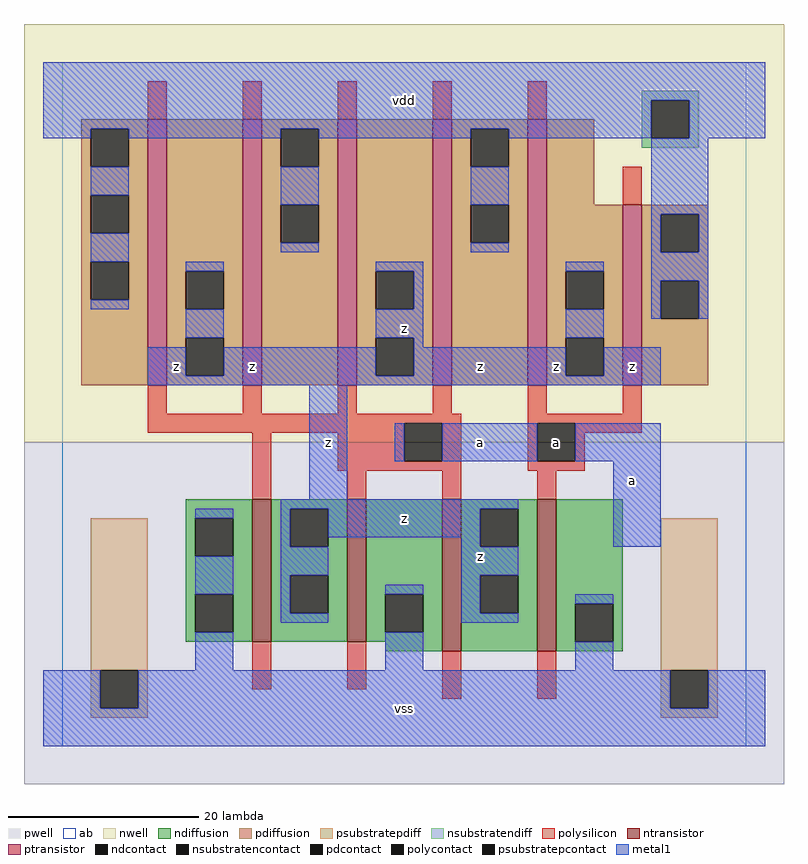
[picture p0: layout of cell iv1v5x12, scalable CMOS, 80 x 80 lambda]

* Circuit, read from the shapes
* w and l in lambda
.subckt iv1v5x12 a vdd vss z
M1 z a vss vss nfet w=15 l=2 m=2
M2 z a vss vss nfet w=16 l=2 m=2
M3 z a vdd vdd pfet w=28 l=2 m=5
M4 vdd a z vdd pfet w=19 l=2
.ends

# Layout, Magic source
magic
tech scmos
<< ab >>
rect 0 0 72 72
<< pwell >>
rect -4 -4 76 32
<< nwell >>
rect -4 32 76 76
<< polysilicon >>
rect 9 66 11 70
rect 19 66 21 70
rect 29 66 31 70
rect 39 66 41 70
rect 49 66 51 70
rect 59 57 61 61
rect 9 35 11 38
rect 19 35 21 38
rect 29 35 31 38
rect 39 35 41 38
rect 49 35 51 38
rect 59 35 61 38
rect 9 34 42 35
rect 9 33 36 34
rect 20 26 22 33
rect 29 30 36 33
rect 40 30 42 34
rect 29 29 42 30
rect 49 34 61 35
rect 49 30 50 34
rect 54 33 61 34
rect 54 30 55 33
rect 49 29 55 30
rect 30 26 32 29
rect 40 26 42 29
rect 50 26 52 29
rect 20 6 22 11
rect 30 6 32 11
rect 40 5 42 10
rect 50 5 52 10
<< ndiffusion >>
rect 13 24 20 26
rect 13 20 14 24
rect 18 20 20 24
rect 13 16 20 20
rect 13 12 14 16
rect 18 12 20 16
rect 13 11 20 12
rect 22 25 30 26
rect 22 21 24 25
rect 28 21 30 25
rect 22 18 30 21
rect 22 14 24 18
rect 28 14 30 18
rect 22 11 30 14
rect 32 16 40 26
rect 32 12 34 16
rect 38 12 40 16
rect 32 11 40 12
rect 34 10 40 11
rect 42 25 50 26
rect 42 21 44 25
rect 48 21 50 25
rect 42 18 50 21
rect 42 14 44 18
rect 48 14 50 18
rect 42 10 50 14
rect 52 15 59 26
rect 52 11 54 15
rect 58 11 59 15
rect 52 10 59 11
<< pdiffusion >>
rect 2 65 9 66
rect 2 61 3 65
rect 7 61 9 65
rect 2 58 9 61
rect 2 54 3 58
rect 7 54 9 58
rect 2 51 9 54
rect 2 47 3 51
rect 7 47 9 51
rect 2 38 9 47
rect 11 50 19 66
rect 11 46 13 50
rect 17 46 19 50
rect 11 43 19 46
rect 11 39 13 43
rect 17 39 19 43
rect 11 38 19 39
rect 21 65 29 66
rect 21 61 23 65
rect 27 61 29 65
rect 21 57 29 61
rect 21 53 23 57
rect 27 53 29 57
rect 21 38 29 53
rect 31 50 39 66
rect 31 46 33 50
rect 37 46 39 50
rect 31 43 39 46
rect 31 39 33 43
rect 37 39 39 43
rect 31 38 39 39
rect 41 65 49 66
rect 41 61 43 65
rect 47 61 49 65
rect 41 57 49 61
rect 41 53 43 57
rect 47 53 49 57
rect 41 38 49 53
rect 51 57 56 66
rect 51 50 59 57
rect 51 46 53 50
rect 57 46 59 50
rect 51 43 59 46
rect 51 39 53 43
rect 57 39 59 43
rect 51 38 59 39
rect 61 56 68 57
rect 61 52 63 56
rect 67 52 68 56
rect 61 49 68 52
rect 61 45 63 49
rect 67 45 68 49
rect 61 38 68 45
<< metal1 >>
rect -2 68 74 72
rect -2 65 62 68
rect -2 64 3 65
rect 7 64 23 65
rect 3 58 7 61
rect 3 51 7 54
rect 27 64 43 65
rect 23 57 27 61
rect 23 52 27 53
rect 47 64 62 65
rect 66 64 74 68
rect 43 57 47 61
rect 43 52 47 53
rect 62 56 68 64
rect 62 52 63 56
rect 67 52 68 56
rect 3 46 7 47
rect 13 50 17 51
rect 13 43 17 46
rect 9 39 13 42
rect 33 50 38 51
rect 37 46 38 50
rect 33 43 38 46
rect 17 39 33 42
rect 37 42 38 43
rect 53 50 57 51
rect 53 43 57 46
rect 62 49 68 52
rect 62 45 63 49
rect 67 45 68 49
rect 37 39 53 42
rect 57 39 63 42
rect 9 38 63 39
rect 26 26 30 38
rect 35 30 36 34
rect 40 30 50 34
rect 54 30 63 34
rect 23 25 48 26
rect 14 24 18 25
rect 14 16 18 20
rect 23 21 24 25
rect 28 22 44 25
rect 23 18 28 21
rect 23 14 24 18
rect 42 21 44 22
rect 58 21 63 30
rect 42 18 48 21
rect 23 13 28 14
rect 34 16 38 17
rect 14 8 18 12
rect 42 14 44 18
rect 42 13 48 14
rect 54 15 58 16
rect 34 8 38 12
rect 54 8 58 11
rect -2 4 4 8
rect 8 4 64 8
rect 68 4 74 8
rect -2 0 74 4
<< ntransistor >>
rect 20 11 22 26
rect 30 11 32 26
rect 40 10 42 26
rect 50 10 52 26
<< ptransistor >>
rect 9 38 11 66
rect 19 38 21 66
rect 29 38 31 66
rect 39 38 41 66
rect 49 38 51 66
rect 59 38 61 57
<< polycontact >>
rect 36 30 40 34
rect 50 30 54 34
<< ndcontact >>
rect 14 20 18 24
rect 14 12 18 16
rect 24 21 28 25
rect 24 14 28 18
rect 34 12 38 16
rect 44 21 48 25
rect 44 14 48 18
rect 54 11 58 15
<< pdcontact >>
rect 3 61 7 65
rect 3 54 7 58
rect 3 47 7 51
rect 13 46 17 50
rect 13 39 17 43
rect 23 61 27 65
rect 23 53 27 57
rect 33 46 37 50
rect 33 39 37 43
rect 43 61 47 65
rect 43 53 47 57
rect 53 46 57 50
rect 53 39 57 43
rect 63 52 67 56
rect 63 45 67 49
<< psubstratepcontact >>
rect 4 4 8 8
rect 64 4 68 8
<< nsubstratencontact >>
rect 62 64 66 68
<< psubstratepdiff >>
rect 3 8 9 24
rect 3 4 4 8
rect 8 4 9 8
rect 63 8 69 24
rect 3 3 9 4
rect 63 4 64 8
rect 68 4 69 8
rect 63 3 69 4
<< nsubstratendiff >>
rect 61 68 67 69
rect 61 64 62 68
rect 66 64 67 68
rect 61 63 67 64
<< labels >>
rlabel metal1 12 40 12 40 6 z
rlabel metal1 28 32 28 32 6 z
rlabel metal1 20 40 20 40 6 z
rlabel metal1 36 4 36 4 6 vss
rlabel metal1 44 20 44 20 6 z
rlabel metal1 36 24 36 24 6 z
rlabel metal1 44 32 44 32 6 a
rlabel polycontact 52 32 52 32 6 a
rlabel metal1 44 40 44 40 6 z
rlabel metal1 52 40 52 40 6 z
rlabel metal1 36 44 36 44 6 z
rlabel metal1 36 68 36 68 6 vdd
rlabel metal1 60 28 60 28 6 a
rlabel metal1 60 40 60 40 6 z
<< end >>
